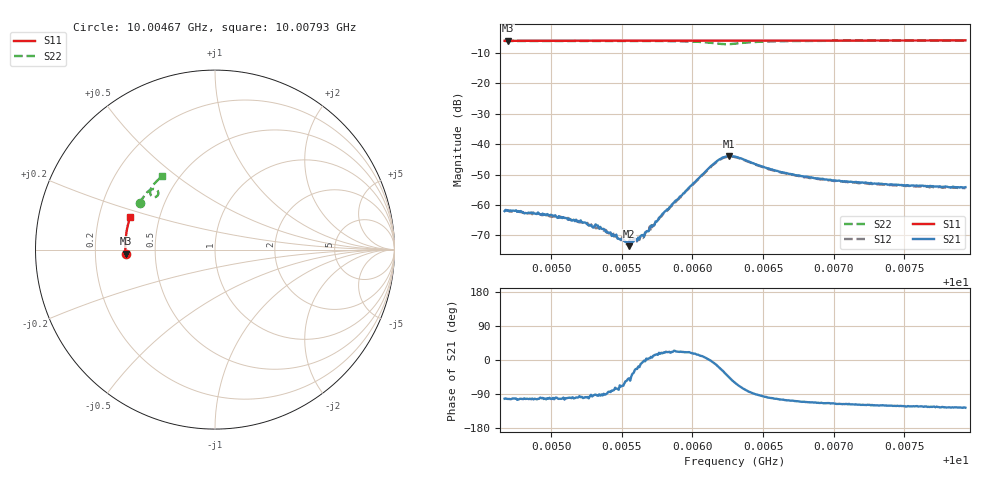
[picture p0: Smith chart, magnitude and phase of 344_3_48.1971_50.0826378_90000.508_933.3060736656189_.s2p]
#  HZ  S  RI  R  50.00
! Rohde & Schwarz Vector Network Analyzer
! Rohde-Schwarz,ZNB20-2Port,1311601062101988,3.16
! Created: UTC 3/20/2024, 11:51:31 AM
! freq[Hz]  re:S11  im:S11  re:S21  im:S21  re:S12  im:S12  re:S22  im:S22
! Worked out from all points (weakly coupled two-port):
!   401 points, 10.00467 GHz to 10.00793 GHz, reference 50 ohm
!   highest |S21| = -43.94 dB at 10.00626 GHz (marker M1); lowest = -73.5 dB at 10.00555 GHz (marker M2)
!   lowest |S11| = -6.0 dB at 10.00469 GHz (marker M3), VSWR 2.99, Z = 16.7 - j0.982 ohm
!   |S11| at or under -10 dB: nowhere
!   |S22| runs from -7.1 to -6.0 dB; largest |S21 - S12| = 0.00039
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1.0004669e10  -0.4984 -0.0234  -0.000169 -0.000776  -0.000126 -0.000829  -0.4204 0.2583
1.0004694e10  -0.4984 -0.022  -0.000181 -0.000794  -0.000164 -0.000799  -0.4195 0.2597
1.0005012e10  -0.4996 -0.00129  -0.000115 -0.000657  -0.000105 -0.000653  -0.4085 0.2785
1.0005216e10  -0.5 0.012  -6.53e-05 -0.000516  -3.03e-05 -0.000525  -0.4007 0.2907
1.0005281e10  -0.4999 0.0161  -1.66e-05 -0.000467  -1.88e-05 -0.00047  -0.398 0.2947
1.000533e10  -0.5 0.0194  -3.69e-05 -0.000459  3.34e-06 -0.00042  -0.3956 0.2976
1.0005371e10  -0.4999 0.022  6.95e-06 -0.000406  7.74e-06 -0.00038  -0.3939 0.3
1.0005485e10  -0.4998 0.0294  0.000108 -0.000251  0.00011 -0.000258  -0.3885 0.307
1.0005551e10  -0.4997 0.0336  0.00014 -0.000157  0.000159 -0.000195  -0.3851 0.3111
1.0005567e10  -0.4996 0.0346  0.00017 -0.00016  0.000171 -0.000138  -0.3844 0.3121
1.000564e10  -0.4993 0.0394  0.000316 -4.61e-05  0.000288 -3.27e-05  -0.3803 0.3166
1.0005673e10  -0.4991 0.0415  0.000363 2.31e-05  0.000361 2.89e-05  -0.3784 0.3188
1.0005763e10  -0.499 0.0473  0.000581 0.0002  0.000551 0.000217  -0.3725 0.3244
1.0005869e10  -0.4985 0.0543  0.001 0.000454  0.000977 0.000459  -0.3635 0.3312
1.0006138e10  -0.4963 0.0716  0.00448 -0.000348  0.00444 -8.42e-05  -0.3216 0.3297
1.0006204e10  -0.4957 0.0756  0.00528 -0.00243  0.00529 -0.00211  -0.3158 0.3109
1.0006261e10  -0.4953 0.079  0.00441 -0.00458  0.00455 -0.00426  -0.3263 0.2953
1.0006302e10  -0.4951 0.0815  0.00309 -0.00542  0.0033 -0.00513  -0.339 0.2922
1.0006595e10  -0.4927 0.1004  -0.000769 -0.00356  -0.000604 -0.00353  -0.3595 0.3328
1.0006848e10  -0.4898 0.1163  -0.00104 -0.00262  -0.000899 -0.00259  -0.3484 0.3539
1.0007395e10  -0.4815 0.1506  -0.0011 -0.00188  -0.000991 -0.00188  -0.3215 0.3846
1.0007934e10  -0.4709 0.1838  -0.00115 -0.00159  -0.00104 -0.00158  -0.2942 0.409
